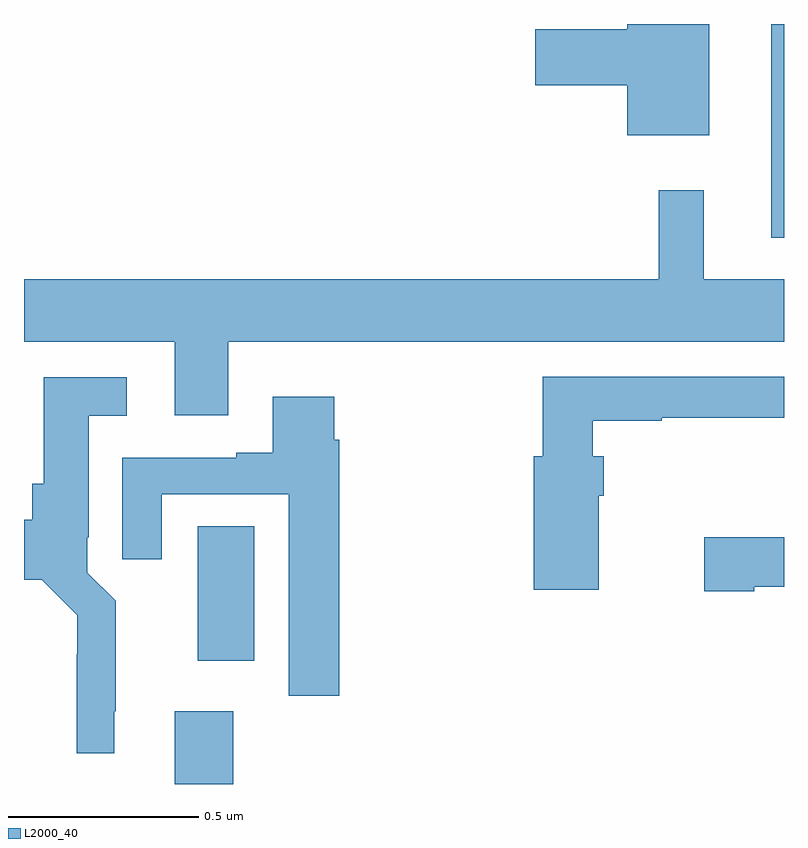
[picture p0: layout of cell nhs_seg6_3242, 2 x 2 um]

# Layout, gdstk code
import gdstk
lib = gdstk.Library(unit=1e-6, precision=1e-09)
def R(c, l, rs):  # rectangles x0, y0, x1, y1
    for r in rs: c.add(gdstk.rectangle(r[:2], r[2:], *l))
def P(c, l, *ps):  # polygons
    for p in ps: c.add(gdstk.Polygon(p, *l))
L2000_40 = (2000, 40)

nhs_seg6_3242 = lib.new_cell('nhs_seg6_3242')
R(nhs_seg6_3242, L2000_40, [(154.397,951.5,154.55,951.691), (154.457,951.825,154.606,952.178), (155.966,952.938,156,953.5)])
P(nhs_seg6_3242, L2000_40, [(155.803,953.5),(155.588,953.5),(155.588,953.486),(155.346,953.486),(155.346,953.339),(155.588,953.339),(155.588,953.207),(155.803,953.207)],
  [(154.537,952.664),(156,952.664),(156,952.828),(155.789,952.828),(155.789,953.062),(155.671,953.062),(155.671,952.828),(154,952.828),(154,952.664),(154.397,952.664),(154.397,952.47),(154.537,952.47)],
  [(155.512,952.259),(155.525,952.259),(155.525,952.363),(155.497,952.363),(155.497,952.456),(155.678,952.456),(155.678,952.464),(156,952.464),(156,952.572),(155.365,952.572),(155.365,952.363),(155.342,952.363),(155.342,952.011),(155.512,952.011)],
  [(154.237,951.691),(154.241,951.691),(154.241,951.982),(154.167,952.056),(154.167,952.15),(154.171,952.15),(154.171,952.469),(154.27,952.469),(154.27,952.57),(154.052,952.57),(154.052,952.29),(154.022,952.29),(154.022,952.195),(154,952.195),(154,952.037),(154.047,952.037),(154.14,951.944),(154.14,951.842),(154.139,951.842),(154.139,951.581),(154.237,951.581)],
  [(154.829,952.406),(154.816,952.406),(154.816,952.519),(154.655,952.519),(154.655,952.372),(154.559,952.372),(154.559,952.359),(154.259,952.359),(154.259,952.092),(154.363,952.092),(154.363,952.263),(154.697,952.263),(154.697,951.732),(154.829,951.732)],
  [(155.922,952.019),(156,952.019),(156,952.149),(155.79,952.149),(155.79,952.007),(155.922,952.007)])

lib.write_gds('nhs_seg6_3242.gds')
